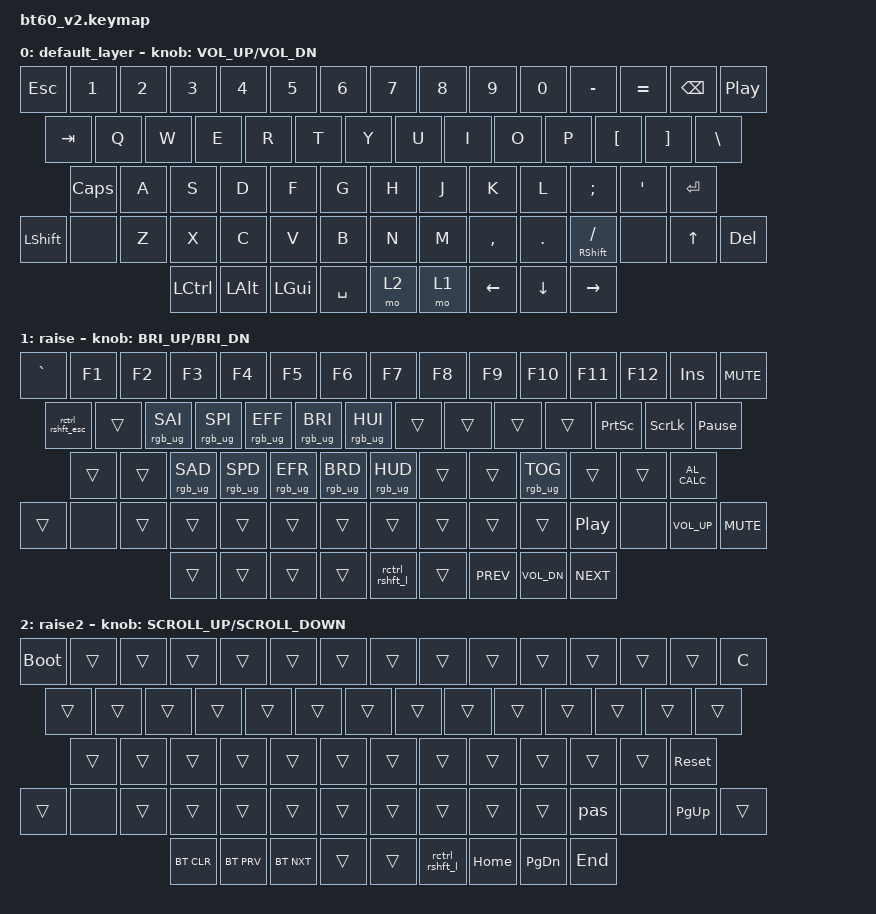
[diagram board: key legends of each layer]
#include <behaviors.dtsi>
#include <dt-bindings/zmk/keys.h>
#include <dt-bindings/zmk/bt.h>
#include <dt-bindings/zmk/rgb.h>
#include <dt-bindings/zmk/backlight.h>

//#define ANSI
//#define ISO
//#define ALL_1U //for split bspc and rshft
//#define HHKB

/ {
  /*chosen {
  #ifdef ANSI
    zmk,physical-layout = &layout_60_ansi;
  #elif defined(ISO)
    zmk,physical-layout = &layout_60_iso;
  #elif defined(ALL_1U)*/
    zmk,physical-layout = &layout_60_all1u;
  /*#elif defined(HHKB)
    zmk,physical-layout = &layout_60_hhkb;
  #else
  #error "Layout not defined, please define a layout by uncommenting the appropriate line in bt60_v2.keymap"
  #endif*/
  };

/ {
  macros {
    rctrl_rshft_l: rctrl_rshft_l {
        label = "ZM_rctrl_rshft_l";
        compatible = "zmk,behavior-macro";
        #binding-cells = <0>;
    wait-ms = <40>;
    tap-ms = <40>;
        bindings
            = <&macro_press &kp RCTRL &kp RSHFT>
            , <&macro_tap &kp L>
            , <&macro_release &kp RCTRL &kp RSHFT>
            ;
    };
  rctrl_rshft_esc: rctrl_rshft_esc {
        label = "ZM_rctrl_rshft_esc";
        compatible = "zmk,behavior-macro";
        #binding-cells = <0>;
    wait-ms = <40>;
    tap-ms = <40>;
        bindings
            = <&macro_press &kp RCTRL &kp RSHFT>
            , <&macro_tap &kp ESC>
            , <&macro_release &kp RCTRL &kp RSHFT>
            ;
    };
  pas: pas {
        label = "ZM_pas";
        compatible = "zmk,behavior-macro";
        #binding-cells = <0>;
    wait-ms = <40>;
    tap-ms = <40>;
        bindings
            = <&macro_press &kp RSHFT>
            , <&macro_tap &kp P>
            , <&macro_release &kp RSHFT>
            , <&macro_tap &kp A &kp S &kp S &kp W &kp O &kp R &kp D &kp N1>
            , <&macro_press &kp RSHFT>
            , <&macro_tap &kp N2>
            , <&macro_release &kp RSHFT>
            , <&macro_tap &kp N3 &kp N4>
            ;
    };
  };
};
/ {
  keymap {
    compatible = "zmk,keymap";
    /*#ifdef ANSI
    default_layer {
        // ------------------------------------------------------------------------------------------
        // | ESC |  1  |  2  |  3  |  4  |  5  |  6  |  7  |  8  |  9  |  0  |  -  |  =  |   BSPC   |
        // | TAB  |  Q  |  W  |  E  |  R  |  T  |  Y  |  U  |  I  |  O  |  P  |  [  |  ]  |   \     |
        // | CAPS  |  A  |  S  |  D  |  F  |  G  |  H  |  J  |  K  |  L  |  ;  |  '  |     ENTER    |
        // |  SHIFT    |  Z  |  X  |  C  |  V  |  B  |  N  |  M  |  ,  |  .  | /   |      SHIFT     |
        // |  CTL  |  WIN  |  ALT  |            SPACE               | ALT |   1  |  MENU   |  CTRL  |
        // ------------------------------------------------------------------------------------------
      bindings = <

        &kp ESC &kp N1 &kp N2 &kp N3 &kp N4 &kp N5 &kp N6 &kp N7 &kp  N8   &kp  N9 &kp  N0  &kp MINUS &kp EQUAL &kp BSPC
        &kp TAB  &kp Q  &kp W  &kp E  &kp R  &kp T  &kp Y  &kp U  &kp  I    &kp  O  &kp  P   &kp LBKT &kp RBKT   &kp BSLH
        &kp CAPS  &kp A  &kp S  &kp D  &kp F  &kp G  &kp H  &kp J  &kp  K    &kp  L  &kp SEMI &kp SQT            &kp RET
        &kp LSHFT  &kp Z  &kp X  &kp C  &kp V  &kp B  &kp N  &kp M  &kp COMMA &kp DOT &kp FSLH                &kp RSHFT
        &kp LCTRL &kp LGUI &kp LALT            &kp SPACE                          &kp RALT  &mo 1 &kp K_CMENU    &kp RCTRL
      >;
      sensor-bindings = <&inc_dec_kp C_VOL_UP C_VOL_DN>;
    };
    raise {
        // ------------------------------------------------------------------------------------------
        // |GRAVE| F1  | F2  | F3  | F4  | F5  | F6  | F7  | F8  | F9  | F10 | F11 | F12 |    DEL   |
        // | TAB  |  Q  | UP  |  E  | HUI | HUD |  Y  |  U  | INS |  O  |PSCRN| SLCK| P_B |  RGB_TOG|
        // | CAPS  | LEFT| DOWN|RIGHT| BRI | BRD |  H  |  J  |  K  |  L  | HOME| PGUP|     BOOT     |
        // |  SHIFT   |VOLDN|VOLUP| MUTE|BLINC|BLDEC|  N  |  M  |  ,  | END | PGDN |      BL_TOG    |
        // | BT_PRV| BT_NXT|  ALT  |            SPACE               | ALT |   1  |  RESET  | BT_CLR |
        // ------------------------------------------------------------------------------------------
      bindings = <
        &kp GRAVE &kp F1 &kp F2 &kp F3 &kp F4 &kp F5 &kp F6 &kp F7 &kp F8 &kp F9 &kp F10 &kp F11 &kp F12 &kp DEL
        &trans &trans &kp UP &trans &rgb_ug RGB_HUI &rgb_ug RGB_HUD &trans &trans &kp INS &trans &kp PSCRN &kp SLCK &kp PAUSE_BREAK &rgb_ug RGB_TOG
        &trans    &kp LEFT &kp DOWN &kp RIGHT &rgb_ug RGB_BRI &rgb_ug RGB_BRD &trans &trans &trans &trans &kp HOME  &kp PG_UP   &bootloader
        &trans   &kp C_VOL_DN &kp C_VOL_UP &kp C_MUTE &bl BL_INC &bl BL_DEC &trans &trans &trans &kp END &kp PG_DN  &bl BL_TOG
        &bt BT_PRV &bt BT_NXT  &trans              &trans                            &trans   &trans   &sys_reset &bt BT_CLR
      >;
      sensor-bindings = <&inc_dec_kp C_VOL_UP C_VOL_DN>;
    };
    #elif defined(ISO)
    default_layer {
        // ------------------------------------------------------------------------------------------
        // | ESC |  1  |  2  |  3  |  4  |  5  |  6  |  7  |  8  |  9  |  0  |  -  |  =  |    BSPC   |
        // |   TAB  |  Q  |  W  |  E  |  R  |  T  |  Y  |  U  |  I  |  O  |  P  |  [  |  ]  |        |
        // |  CAPS   |  A  |  S  |  D  |  F  |  G  |  H  |  J  |  K  |  L  |  ;  |  '  |  #  | ENTER |
        // | SHIFT |  \  |  Z  |  X  |  C  |  V  |  B  |  N  |  M  |  ,  |  .  | /   |     SHIFT     |
        // |  CTL  |  WIN  |  ALT  |            SPACE               |  ALT |  1    |  MENU   |  CTRL |
        // ------------------------------------------------------------------------------------------
      bindings = <

        &kp ESC &kp N1 &kp N2 &kp N3 &kp N4 &kp N5 &kp N6 &kp N7 &kp  N8   &kp  N9 &kp  N0  &kp MINUS &kp EQUAL &kp BSPC
        &kp TAB  &kp Q  &kp W  &kp E  &kp R  &kp T  &kp Y  &kp U  &kp  I    &kp  O  &kp  P   &kp LBKT &kp RBKT
        &kp CAPS  &kp A  &kp S  &kp D  &kp F  &kp G  &kp H  &kp J  &kp  K    &kp  L  &kp SEMI &kp SQT &kp NON_US_HASH  &kp RET
        &kp LSHFT &kp NON_US_BSLH &kp Z  &kp X  &kp C  &kp V  &kp B  &kp N  &kp M  &kp COMMA &kp DOT &kp FSLH         &kp RSHFT
        &kp LCTRL &kp LGUI &kp LALT            &kp SPACE                          &kp RALT  &mo 1 &kp K_CMENU    &kp RCTRL
      >;
      sensor-bindings = <&inc_dec_kp C_VOL_UP C_VOL_DN>;
    };
    raise {
        // ------------------------------------------------------------------------------------------
        // |GRAVE| F1  | F2  | F3  | F4  | F5  | F6  | F7  | F8  | F9  | F10 | F11 | F12 |    DEL    |
        // | TAB   |  Q  | UP  |  E  | HUI | HUD |  Y  |  U  | INS |  O  |PSCRN| SLCK| P_B |         |
        // | CAPS   | LEFT| DOWN|RIGHT| BRI | BRD |  H  |  J  |  K  |  L  | HOME| PGUP|RGB_TOG| BOOT |
        // | SHIFT |VOLDN|VOLUP| MUTE|BLINC|BLDEC|  B  |  N  |  M  |  ,  | END | PGDN |    BL_TOG    |
        // | BT_PRV| BT_NXT|  ALT  |            SPACE               |  ALT |  1    |  RESET  |BT_CLR |
        // ------------------------------------------------------------------------------------------
      bindings = <
        &kp GRAVE &kp F1 &kp F2 &kp F3 &kp F4 &kp F5 &kp F6 &kp F7 &kp F8 &kp F9 &kp F10 &kp F11 &kp F12 &kp DEL
        &trans &trans &kp UP &trans &rgb_ug RGB_HUI &rgb_ug RGB_HUD &trans &trans &kp INS &trans &kp PSCRN &kp SLCK &kp PAUSE_BREAK
        &trans    &kp LEFT &kp DOWN &kp RIGHT &rgb_ug RGB_BRI &rgb_ug RGB_BRD &trans &trans &trans &trans &kp HOME  &kp PG_UP &rgb_ug RGB_TOG &bootloader
        &trans &kp C_VOL_DN &kp C_VOL_UP &kp C_MUTE &bl BL_INC &bl BL_DEC &trans &trans &trans &trans &kp END &kp PG_DN  &bl BL_TOG
        &bt BT_PRV &bt BT_NXT  &trans              &trans                            &trans   &trans   &sys_reset &bt BT_CLR
      >;
      sensor-bindings = <&inc_dec_kp C_VOL_UP C_VOL_DN>;
    };
    #elif defined(ALL_1U)*/ //*******************************************************************************************************************************
    default_layer {
        // ------------------------------------------------------------------------------------------
        // | ESC |  1  |  2  |  3  |  4  |  5  |  6  |  7  |  8  |  9  |  0  |  -  |  =  |BSPC | PP | vol up/dn
        // | TAB   |  Q  |  W  |  E  |  R  |  T  |  Y  |  U  |  I  |  O  |  P  |  [  |  ]  |    \    |
        // | CAPS   |  A  |  S  |  D  |  F  |  G  |  H  |  J  |  K  |  L  |  ;  |  '  |     ENTER    |
        // | SHFT  |NONE|  Z  |  X  |  C  |  V  |  B  |  N  |  M  | ,  | . |SHFT/|NONE|  UP  |  DEL  |
        // |  CTL  |  ALT  |  WIN  |           SPACE              | MO2 | MO1  | LEFT | DOWN | RIGHT |
        // ------------------------------------------------------------------------------------------

      bindings = <
        &kp ESC &kp N1 &kp N2 &kp N3 &kp N4 &kp N5 &kp N6 &kp N7 &kp  N8   &kp  N9 &kp  N0  &kp MINUS &kp EQUAL &kp BSPC &kp C_PP
        &kp TAB  &kp Q  &kp W  &kp E  &kp R  &kp T  &kp Y  &kp U  &kp  I    &kp  O  &kp  P   &kp LBKT &kp RBKT  &kp BSLH
        &kp CLCK  &kp A  &kp S  &kp D  &kp F  &kp G  &kp H  &kp J  &kp  K    &kp  L  &kp SEMI &kp SQT           &kp RET
        &kp LSHFT &none  &kp Z  &kp X  &kp C  &kp V  &kp B  &kp N  &kp M  &kp COMMA &kp DOT &mt RSHIFT FSLH &none &kp UP &kp DEL
        &kp LCTRL &kp LALT &kp LGUI            &kp SPACE                          &mo 2  &mo 1 &kp LEFT &kp DOWN &kp RIGHT
      >;
      sensor-bindings = <&inc_dec_kp C_VOL_UP C_VOL_DN>;
    };
    raise {
        // ------------------------------------------------------------------------------------------
        // |GRAVE| F1  | F2  | F3  | F4  | F5  | F6  | F7  | F8  | F9  | F10 | F11 | F12 | INS |MUTE | screen brightness up/dn
        // |TSKMAN|     | Sat | spD | eFF | Bri | Hue |     |     |     |     |PSCRN|SLCK |pausebreak|
        // |       |     | Sd  | Dd  | Fd  | Bd  | Hd  |     |     |RGBTOG|     |     |      CALC    |
        // |      |NONE|     |     |     |     |     |     |     |     |      | PlPa | NONE| Vup|MUTE|
        // |       |       |       |                              | CSL| TRNS  | PREV | Vdn  | NEXT  |
        // ------------------------------------------------------------------------------------------
      bindings = <
        &kp GRAVE &kp F1 &kp F2 &kp F3 &kp F4 &kp F5 &kp F6 &kp F7 &kp  F8   &kp  F9 &kp  F10  &kp F11 &kp F12   &kp INS &kp C_MUTE
        &rctrl_rshft_esc &trans &rgb_ug RGB_SAI &rgb_ug RGB_SPI &rgb_ug RGB_EFF &rgb_ug RGB_BRI &rgb_ug RGB_HUI &trans &trans &trans &trans &kp PSCRN &kp SLCK &kp PAUSE_BREAK
        &trans           &trans &rgb_ug RGB_SAD &rgb_ug RGB_SPD &rgb_ug RGB_EFR &rgb_ug RGB_BRD &rgb_ug RGB_HUD &trans &trans &rgb_ug RGB_TOG &trans  &trans   &kp C_AL_CALC
        &trans &none     &trans &trans &trans &trans &trans &trans &trans &trans &trans &kp C_PP &none &kp C_VOL_UP &kp C_MUTE
        &trans &trans &trans              &trans                            &rctrl_rshft_l  &trans &kp C_PREV &kp C_VOL_DN &kp C_NEXT
      >;
      sensor-bindings = <&inc_dec_kp C_BRI_UP C_BRI_DN>;
    };
    raise2 {
        // ------------------------------------------------------------------------------------------
        // |bootl|     |     |     |     |     |     |     |     |     |     |     |     |     | MUTE|   scroll up/dn
        // |      |     |     |     |     |     |     |     |     |     |     |     |     |          |
        // |       |     |     |     |     |     |     |     |     |     |     |      |     reset    |
        // |       |NONE|     |     |     |     |     |     |     |     |     |  pas  |NONE|PGUP|    |
        // | BTclr | BTprv | BTnxt |                               | TRNS| CSL | HOME | PGDN |  END  |
        // ------------------------------------------------------------------------------------------
      bindings = <
        &bootloader &trans &trans &trans &trans &trans &trans &trans &trans &trans &trans &trans &trans &trans &kp C
        &trans &trans &trans &trans &trans &trans &trans &trans &trans &trans &trans &trans &trans &trans
        &trans &trans &trans &trans &trans &trans &trans &trans &trans &trans &trans &trans &sys_reset
        &trans &none &trans &trans &trans &trans &trans &trans &trans &trans &trans &pas &none &kp PG_UP &trans
        &bt BT_CLR &bt BT_PRV  &bt BT_NXT              &trans                    &trans  &rctrl_rshft_l &kp HOME &kp PG_DN &kp END
      >;
      sensor-bindings = <&inc_dec_kp K_SCROLL_UP K_SCROLL_DOWN>;
    }; /* //******************************************************************************************************************************
    #elif defined(HHKB)
    default_layer {
        // ------------------------------------------------------------------------------------------
        // | ESC |  1  |  2  |  3  |  4  |  5  |  6  |  7  |  8  |  9  |  0  |  -  |  =  |   BSPC   |
        // | TAB  |  Q  |  W  |  E  |  R  |  T  |  Y  |  U  |  I  |  O  |  P  |  [  |  ]  |   \     |
        // | CAPS  |  A  |  S  |  D  |  F  |  G  |  H  |  J  |  K  |  L  |  ;  |  '  |     ENTER    |
        // |  SHIFT    |  Z  |  X  |  C  |  V  |  B  |  N  |  M  |  ,  |  .  | /   |      SHIFT     |
        // |  CTL   |   WIN  |   ALT  |              SPACE                |  ALT  |   1    |  CTRL  |
        // ------------------------------------------------------------------------------------------
      bindings = <

        &kp ESC &kp N1 &kp N2 &kp N3 &kp N4 &kp N5 &kp N6 &kp N7 &kp  N8   &kp  N9 &kp  N0  &kp MINUS &kp EQUAL &kp BSPC
        &kp TAB  &kp Q  &kp W  &kp E  &kp R  &kp T  &kp Y  &kp U  &kp  I    &kp  O  &kp  P   &kp LBKT &kp RBKT   &kp BSLH
        &kp CAPS  &kp A  &kp S  &kp D  &kp F  &kp G  &kp H  &kp J  &kp  K    &kp  L  &kp SEMI &kp SQT            &kp RET
        &kp LSHFT  &kp Z  &kp X  &kp C  &kp V  &kp B  &kp N  &kp M  &kp COMMA &kp DOT &kp FSLH                &kp RSHFT
        &kp LCTRL &kp LGUI &kp LALT                  &kp SPACE                             &kp RALT  &mo 1 &kp RCTRL
      >;
      sensor-bindings = <&inc_dec_kp C_VOL_UP C_VOL_DN>;
    };
    raise {
        // ------------------------------------------------------------------------------------------
        // |GRAVE| F1  | F2  | F3  | F4  | F5  | F6  | F7  | F8  | F9  | F10 | F11 | F12 |    DEL   |
        // | TAB  |  Q  | UP  |  E  | HUI | HUD |  Y  |  U  | INS |  O  |PSCRN| SLCK| P_B |  RGB_TOG|
        // | CAPS  | LEFT| DOWN|RIGHT| BRI | BRD |  H  |  J  |  K  |  L  | HOME| PGUP|     BOOT     |
        // |  SHFT    |VOLDN|VOLUP| MUTE|BLINC|BLDEC|  N  |  M  |  ,  | END | PGDN |      BL_TOG    |
        // | BT_PRV | BT_NXT |   ALT  |             SPACE                | RESET |   1    |  BT_CLR |
        // ------------------------------------------------------------------------------------------
      bindings = <
        &kp GRAVE &kp F1 &kp F2 &kp F3 &kp F4 &kp F5 &kp F6 &kp F7 &kp F8 &kp F9 &kp F10 &kp F11 &kp F12 &kp DEL
        &trans &trans &kp UP &trans &rgb_ug RGB_HUI &rgb_ug RGB_HUD &trans &trans &kp INS &trans &kp PSCRN &kp SLCK &kp PAUSE_BREAK &rgb_ug RGB_TOG
        &trans    &kp LEFT &kp DOWN &kp RIGHT &rgb_ug RGB_BRI &rgb_ug RGB_BRD &trans &trans &trans &trans &kp HOME  &kp PG_UP   &bootloader
        &trans &kp C_VOL_DN &kp C_VOL_UP &kp C_MUTE &bl BL_INC &bl BL_DEC &trans &trans &trans &kp END &kp PG_DN  &bl BL_TOG
        &bt BT_PRV &bt BT_NXT  &trans              &trans                            &sys_reset   &trans  &bt BT_CLR
      >;
      sensor-bindings = <&inc_dec_kp C_VOL_UP C_VOL_DN>;
    };
    #else
    #error "Layout not defined, please define a layout by uncommenting the appropriate line in bt60_v2.keymap"
    #endif*/

  };
};
